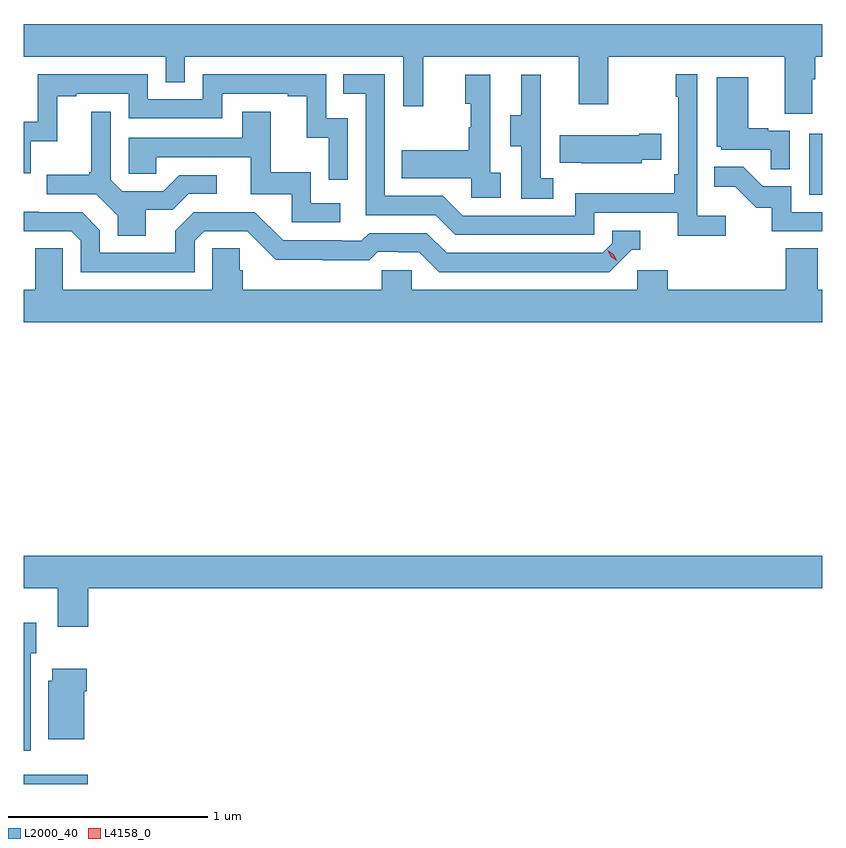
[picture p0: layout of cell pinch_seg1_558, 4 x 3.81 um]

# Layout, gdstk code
import gdstk
lib = gdstk.Library(unit=1e-6, precision=1e-09)
def R(c, l, rs):  # rectangles x0, y0, x1, y1
    for r in rs: c.add(gdstk.rectangle(r[:2], r[2:], *l))
def P(c, l, *ps):  # polygons
    for p in ps: c.add(gdstk.Polygon(p, *l))
L2000_40 = (2000, 40)
L4158_0 = (4158, 0)

pinch_seg1_558 = lib.new_cell('pinch_seg1_558')
R(pinch_seg1_558, L2000_40, [(1023.675,512.123,1023.994,512.169), (1027.61,515.076,1027.675,515.383)])
P(pinch_seg1_558, L2000_40, [(1027.627,515.656),(1027.64,515.656),(1027.64,515.768),(1027.675,515.768),(1027.675,515.932),(1023.675,515.932),(1023.675,515.768),(1024.386,515.768),(1024.386,515.641),(1024.482,515.641),(1024.482,515.768),(1025.577,515.768),(1025.577,515.52),(1025.675,515.52),(1025.675,515.768),(1026.455,515.768),(1026.455,515.529),(1026.603,515.529),(1026.603,515.768),(1027.487,515.768),(1027.487,515.482),(1027.627,515.482)],
  [(1027.192,514.972),(1027.05,514.972),(1027.05,515.68),(1026.942,515.68),(1026.942,515.567),(1026.954,515.567),(1026.954,515.179),(1026.934,515.179),(1026.934,515.083),(1026.438,515.083),(1026.438,514.971),(1025.874,514.971),(1025.775,515.07),(1025.484,515.07),(1025.484,515.679),(1025.275,515.679),(1025.275,515.583),(1025.388,515.583),(1025.388,514.974),(1025.738,514.974),(1025.837,514.875),(1026.534,514.875),(1026.534,514.986),(1026.953,514.986),(1026.953,514.87),(1027.192,514.87)],
  [(1025.298,515.46),(1025.19,515.46),(1025.19,515.679),(1024.572,515.679),(1024.572,515.556),(1024.296,515.556),(1024.296,515.679),(1023.744,515.679),(1023.744,515.443),(1023.675,515.443),(1023.675,515.184),(1023.708,515.184),(1023.708,515.345),(1023.841,515.345),(1023.841,515.571),(1023.937,515.571),(1023.937,515.583),(1024.2,515.583),(1024.2,515.46),(1024.668,515.46),(1024.668,515.583),(1024.997,515.583),(1024.997,515.571),(1025.093,515.571),(1025.093,515.363),(1025.202,515.363),(1025.202,515.151),(1025.298,515.151)],
  [(1026.064,515.186),(1026.012,515.186),(1026.012,515.677),(1025.888,515.677),(1025.888,515.532),(1025.914,515.532),(1025.914,515.414),(1025.904,515.414),(1025.904,515.299),(1025.569,515.299),(1025.569,515.159),(1025.916,515.159),(1025.916,515.061),(1026.064,515.061)],
  [(1026.328,515.159),(1026.264,515.159),(1026.264,515.463),(1026.266,515.463),(1026.266,515.677),(1026.167,515.677),(1026.167,515.475),(1026.113,515.475),(1026.113,515.32),(1026.168,515.32),(1026.168,515.056),(1026.328,515.056)],
  [(1027.512,515.397),(1027.406,515.397),(1027.406,515.41),(1027.306,515.41),(1027.306,515.665),(1027.148,515.665),(1027.148,515.316),(1027.17,515.316),(1027.17,515.301),(1027.417,515.301),(1027.417,515.203),(1027.512,515.203)],
  [(1024.285,515.002),(1024.42,515.002),(1024.5,515.082),(1024.642,515.082),(1024.642,515.175),(1024.454,515.175),(1024.373,515.094),(1024.167,515.094),(1024.11,515.151),(1024.11,515.491),(1024.013,515.491),(1024.013,515.188),(1024.002,515.188),(1024.002,515.176),(1023.789,515.176),(1023.789,515.079),(1024.038,515.079),(1024.145,514.972),(1024.145,514.87),(1024.285,514.87)],
  [(1025.26,515.034),(1025.112,515.034),(1025.112,515.188),(1024.913,515.188),(1024.913,515.491),(1024.769,515.491),(1024.769,515.361),(1024.2,515.361),(1024.2,515.181),(1024.337,515.181),(1024.337,515.265),(1024.811,515.265),(1024.811,515.079),(1025.016,515.079),(1025.016,514.938),(1025.26,514.938)],
  [(1026.771,515.252),(1026.869,515.252),(1026.869,515.382),(1026.758,515.382),(1026.758,515.374),(1026.361,515.374),(1026.361,515.237),(1026.469,515.237),(1026.469,515.234),(1026.771,515.234)],
  [(1027.675,514.989),(1027.521,514.989),(1027.521,515.118),(1027.377,515.118),(1027.279,515.216),(1027.135,515.216),(1027.135,515.117),(1027.239,515.117),(1027.346,515.01),(1027.423,515.01),(1027.423,514.893),(1027.675,514.893)],
  [(1024.53,514.845),(1024.578,514.893),(1024.794,514.893),(1024.936,514.751),(1025.172,514.751),(1025.172,514.749),(1025.405,514.749),(1025.447,514.791),(1025.55,514.791),(1025.55,514.788),(1025.657,514.788),(1025.756,514.689),(1026.609,514.689),(1026.72,514.8),(1026.763,514.8),(1026.763,514.896),(1026.624,514.896),(1026.624,514.833),(1026.576,514.785),(1025.793,514.785),(1025.694,514.884),(1025.405,514.884),(1025.366,514.845),(1025.267,514.845),(1025.267,514.848),(1024.974,514.848),(1024.833,514.989),(1024.527,514.989),(1024.433,514.895),(1024.433,514.785),(1024.056,514.785),(1024.056,514.899),(1023.966,514.989),(1023.75,514.989),(1023.75,514.991),(1023.675,514.991),(1023.675,514.893),(1023.912,514.893),(1023.96,514.845),(1023.96,514.689),(1024.53,514.689)],
  [(1027.675,514.6),(1027.653,514.6),(1027.653,514.808),(1027.493,514.808),(1027.493,514.6),(1026.902,514.6),(1026.902,514.698),(1026.75,514.698),(1026.75,514.6),(1025.619,514.6),(1025.619,514.698),(1025.469,514.698),(1025.469,514.6),(1024.772,514.6),(1024.772,514.698),(1024.757,514.698),(1024.757,514.808),(1024.62,514.808),(1024.62,514.6),(1023.87,514.6),(1023.87,514.808),(1023.731,514.808),(1023.731,514.6),(1023.675,514.6),(1023.675,514.436),(1027.675,514.436)],
  [(1023.998,513.104),(1027.675,513.104),(1027.675,513.268),(1023.675,513.268),(1023.675,513.104),(1023.845,513.104),(1023.845,512.91),(1023.998,512.91)],
  [(1023.709,512.778),(1023.736,512.778),(1023.736,512.932),(1023.675,512.932),(1023.675,512.289),(1023.709,512.289)],
  [(1023.976,512.588),(1023.989,512.588),(1023.989,512.701),(1023.818,512.701),(1023.818,512.64),(1023.797,512.64),(1023.797,512.348),(1023.976,512.348)])
P(pinch_seg1_558, L4158_0, [(1026.645,514.746),(1026.615,514.766),(1026.6,514.798),(1026.6,514.799),(1026.6,514.799),(1026.63,514.779),(1026.646,514.746),(1026.646,514.746)])

lib.write_gds('pinch_seg1_558.gds')
